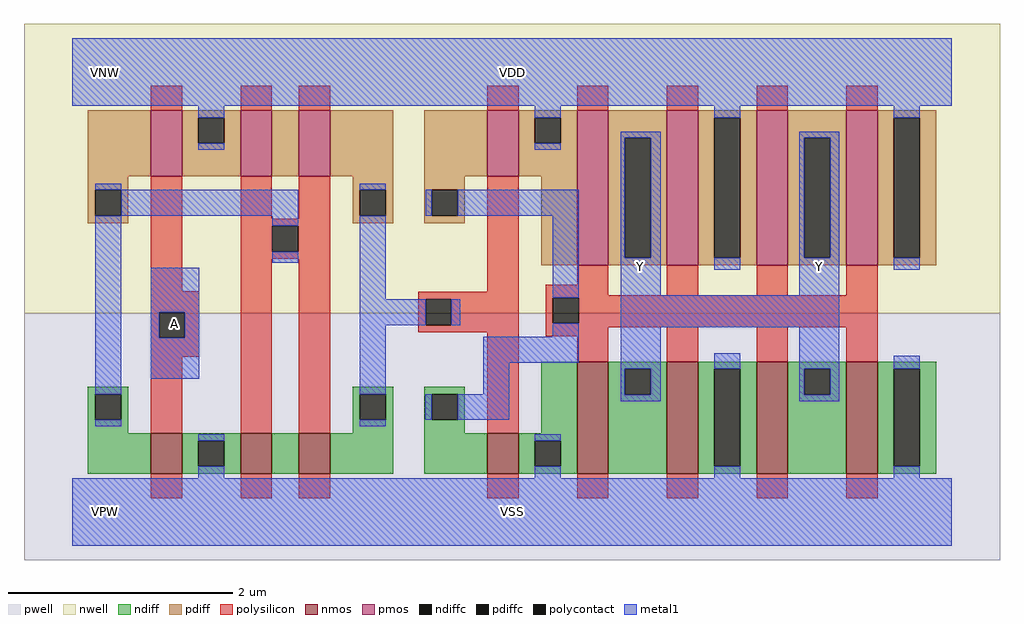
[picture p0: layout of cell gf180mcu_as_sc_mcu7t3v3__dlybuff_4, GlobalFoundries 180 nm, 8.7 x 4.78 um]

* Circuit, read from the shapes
.subckt gf180mcu_as_sc_mcu7t3v3__dlybuff_4 VDD VNW VPW VSS Y A
XM1 VSS A n1 VPW nfet_03v3 w=0.36u l=0.28u
XM2 n2 n1 VSS VPW nfet_03v3 w=0.36u l=0.28u
XM3 n3 n1 n2 VPW nfet_03v3 w=0.36u l=0.28u
XM4 VSS n3 n4 VPW nfet_03v3 w=0.36u l=0.28u
XM5 Y n4 VSS VPW nfet_03v3 w=1u l=0.28u m=4
XM6 VDD A n1 VNW pfet_03v3 w=0.59u l=0.28u
XM7 n5 n1 VDD VNW pfet_03v3 w=0.59u l=0.28u
XM8 n3 n1 n5 VNW pfet_03v3 w=0.59u l=0.28u
XM9 VDD n3 n4 VNW pfet_03v3 w=0.59u l=0.28u
XM10 Y n4 VDD VNW pfet_03v3 w=1.38u l=0.28u m=4
.ends

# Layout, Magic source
magic
tech gf180mcuD
magscale 1 10
<< nwell >>
rect -86 354 1654 870
<< pwell >>
rect -86 -86 1654 354
<< nmos >>
rect 140 68 196 140
rect 300 68 356 140
rect 404 68 460 140
rect 740 68 796 140
rect 900 68 956 268
rect 1060 68 1116 268
rect 1220 68 1276 268
rect 1380 68 1436 268
<< pmos >>
rect 140 598 196 716
rect 300 598 356 716
rect 404 598 460 716
rect 740 598 796 716
rect 900 440 956 716
rect 1060 440 1116 716
rect 1220 440 1276 716
rect 1380 440 1436 716
<< ndiff >>
rect 28 210 100 223
rect 28 164 41 210
rect 87 164 100 210
rect 28 140 100 164
rect 500 210 572 223
rect 500 164 513 210
rect 559 164 572 210
rect 500 140 572 164
rect 28 68 140 140
rect 196 127 300 140
rect 196 81 225 127
rect 271 81 300 127
rect 196 68 300 81
rect 356 68 404 140
rect 460 68 572 140
rect 628 210 700 223
rect 628 164 641 210
rect 687 164 700 210
rect 628 140 700 164
rect 836 140 900 268
rect 628 68 740 140
rect 796 127 900 140
rect 796 81 825 127
rect 871 81 900 127
rect 796 68 900 81
rect 956 255 1060 268
rect 956 209 985 255
rect 1031 209 1060 255
rect 956 68 1060 209
rect 1116 255 1220 268
rect 1116 81 1145 255
rect 1191 81 1220 255
rect 1116 68 1220 81
rect 1276 255 1380 268
rect 1276 209 1305 255
rect 1351 209 1380 255
rect 1276 68 1380 209
rect 1436 255 1540 268
rect 1436 81 1465 255
rect 1511 81 1540 255
rect 1436 68 1540 81
<< pdiff >>
rect 28 598 140 716
rect 196 703 300 716
rect 196 657 225 703
rect 271 657 300 703
rect 196 598 300 657
rect 356 598 404 716
rect 460 598 572 716
rect 28 574 100 598
rect 28 528 41 574
rect 87 528 100 574
rect 28 515 100 528
rect 500 574 572 598
rect 500 528 513 574
rect 559 528 572 574
rect 500 515 572 528
rect 628 598 740 716
rect 796 703 900 716
rect 796 657 825 703
rect 871 657 900 703
rect 796 598 900 657
rect 628 574 700 598
rect 628 528 641 574
rect 687 528 700 574
rect 628 515 700 528
rect 836 440 900 598
rect 956 667 1060 716
rect 956 453 985 667
rect 1031 453 1060 667
rect 956 440 1060 453
rect 1116 703 1220 716
rect 1116 453 1145 703
rect 1191 453 1220 703
rect 1116 440 1220 453
rect 1276 667 1380 716
rect 1276 453 1305 667
rect 1351 453 1380 667
rect 1276 440 1380 453
rect 1436 703 1540 716
rect 1436 453 1465 703
rect 1511 453 1540 703
rect 1436 440 1540 453
<< ndiffc >>
rect 41 164 87 210
rect 513 164 559 210
rect 225 81 271 127
rect 641 164 687 210
rect 825 81 871 127
rect 985 209 1031 255
rect 1145 81 1191 255
rect 1305 209 1351 255
rect 1465 81 1511 255
<< pdiffc >>
rect 225 657 271 703
rect 41 528 87 574
rect 513 528 559 574
rect 825 657 871 703
rect 641 528 687 574
rect 985 453 1031 667
rect 1145 453 1191 703
rect 1305 453 1351 667
rect 1465 453 1511 703
<< polysilicon >>
rect 140 716 196 760
rect 300 716 356 760
rect 404 716 460 760
rect 740 716 796 760
rect 900 716 956 760
rect 1060 716 1116 760
rect 1220 716 1276 760
rect 1380 716 1436 760
rect 140 393 196 598
rect 300 523 356 598
rect 404 523 460 598
rect 300 510 460 523
rect 300 464 357 510
rect 403 464 460 510
rect 300 451 460 464
rect 140 356 226 393
rect 140 310 155 356
rect 201 310 226 356
rect 140 277 226 310
rect 140 140 196 277
rect 300 140 356 451
rect 404 140 460 451
rect 740 392 796 598
rect 900 405 956 440
rect 617 379 796 392
rect 617 333 630 379
rect 676 333 796 379
rect 617 320 796 333
rect 740 140 796 320
rect 844 386 956 405
rect 1060 386 1116 440
rect 1220 386 1276 440
rect 1380 386 1436 440
rect 844 382 1436 386
rect 844 336 857 382
rect 903 336 1436 382
rect 844 329 1436 336
rect 844 313 956 329
rect 900 268 956 313
rect 1060 268 1116 329
rect 1220 268 1276 329
rect 1380 268 1436 329
rect 140 24 196 68
rect 300 24 356 68
rect 404 24 460 68
rect 740 24 796 68
rect 900 24 956 68
rect 1060 24 1116 68
rect 1220 24 1276 68
rect 1380 24 1436 68
<< polycontact >>
rect 357 464 403 510
rect 155 310 201 356
rect 630 333 676 379
rect 857 336 903 382
<< metal1 >>
rect 0 724 1568 844
rect 225 703 271 724
rect 225 646 271 657
rect 825 703 871 724
rect 1145 703 1191 724
rect 825 646 871 657
rect 978 667 1049 678
rect 41 574 87 585
rect 513 574 559 585
rect 87 528 403 574
rect 41 210 87 528
rect 357 510 403 528
rect 357 444 403 464
rect 630 528 641 574
rect 687 528 903 574
rect 140 356 226 435
rect 140 310 155 356
rect 201 310 226 356
rect 140 237 226 310
rect 513 379 559 528
rect 857 382 903 528
rect 513 333 630 379
rect 676 333 692 379
rect 41 153 87 164
rect 513 210 559 333
rect 857 312 903 336
rect 733 266 903 312
rect 978 453 985 667
rect 1031 453 1049 667
rect 978 386 1049 453
rect 1465 703 1511 724
rect 1145 432 1191 453
rect 1296 667 1367 678
rect 1296 453 1305 667
rect 1351 453 1367 667
rect 1296 386 1367 453
rect 1465 432 1511 453
rect 978 329 1367 386
rect 733 210 779 266
rect 629 164 641 210
rect 687 164 779 210
rect 978 255 1049 329
rect 978 209 985 255
rect 1031 209 1049 255
rect 978 197 1049 209
rect 1145 255 1191 283
rect 513 153 559 164
rect 225 127 271 138
rect 225 60 271 81
rect 825 127 871 138
rect 825 60 871 81
rect 1296 255 1367 329
rect 1296 209 1305 255
rect 1351 209 1367 255
rect 1296 197 1367 209
rect 1465 255 1511 278
rect 1145 60 1191 81
rect 1465 60 1511 81
rect 0 -60 1568 60
<< labels >>
flabel metal1 s 0 724 1568 844 0 FreeSans 400 0 0 0 VDD
port 1 nsew power bidirectional abutment
flabel metal1 s 0 -60 1568 60 0 FreeSans 400 0 0 0 VSS
port 4 nsew ground bidirectional abutment
flabel nwell s 10 734 110 834 0 FreeSans 400 0 0 0 VNW
port 2 nsew power bidirectional
flabel pwell s 10 -50 110 50 0 FreeSans 400 0 0 0 VPW
port 3 nsew ground bidirectional
flabel metal1 978 197 1049 678 0 FreeSans 200 0 0 0 Y
port 5 nsew signal output
flabel metal1 140 237 226 435 0 FreeSans 200 0 0 0 A
port 6 nsew signal input
flabel metal1 1296 197 1367 678 0 FreeSans 200 0 0 0 Y
port 5 nsew signal output
<< properties >>
string FIXED_BBOX 0 0 1568 784
string LEFclass CORE
string LEFsite unithd
string LEFsymmetry X Y
string MASKHINTS_NPLUS -16 -46 1584 354
string MASKHINTS_PPLUS -16 354 1584 830
<< end >>
